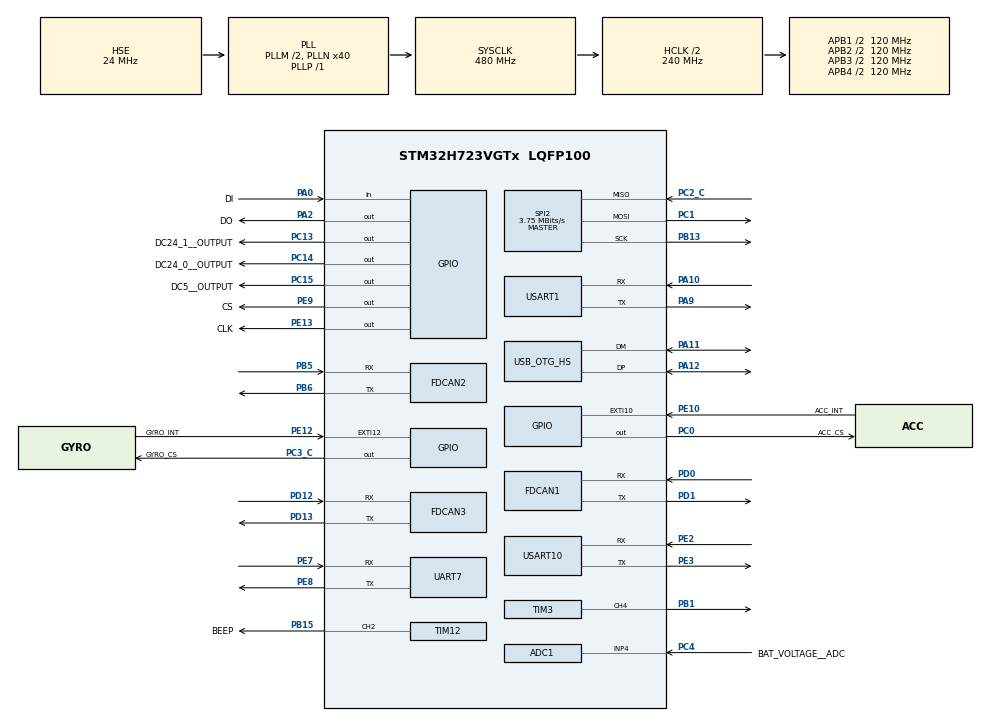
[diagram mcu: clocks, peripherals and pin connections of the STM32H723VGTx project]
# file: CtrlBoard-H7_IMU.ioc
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ADC1.Channel-0\#ChannelRegularConversion=ADC_CHANNEL_4
ADC1.ContinuousConvMode=ENABLE
ADC1.ConversionDataManagement=ADC_CONVERSIONDATA_DMA_CIRCULAR
ADC1.NbrOfConversionFlag=1
ADC1.OffsetNumber-0\#ChannelRegularConversion=ADC_OFFSET_NONE
ADC1.OffsetSignedSaturation-0\#ChannelRegularConversion=DISABLE
ADC1.Rank-0\#ChannelRegularConversion=1
ADC1.SamplingTime-0\#ChannelRegularConversion=ADC_SAMPLETIME_1CYCLE_5
ADC1.master=1
CORTEX_M7.CPU_DCache=Enabled
CORTEX_M7.CPU_ICache=Enabled
CORTEX_M7.default_mode_Activation=1
Dma.ADC1.2.Direction=DMA_PERIPH_TO_MEMORY
Dma.ADC1.2.EventEnable=DISABLE
Dma.ADC1.2.FIFOMode=DMA_FIFOMODE_DISABLE
Dma.ADC1.2.Instance=DMA1_Stream5
Dma.ADC1.2.MemDataAlignment=DMA_MDATAALIGN_HALFWORD
Dma.ADC1.2.MemInc=DMA_MINC_ENABLE
Dma.ADC1.2.Mode=DMA_NORMAL
Dma.ADC1.2.PeriphDataAlignment=DMA_PDATAALIGN_HALFWORD
Dma.ADC1.2.PeriphInc=DMA_PINC_DISABLE
Dma.ADC1.2.Polarity=HAL_DMAMUX_REQ_GEN_RISING
Dma.ADC1.2.Priority=DMA_PRIORITY_LOW
Dma.ADC1.2.RequestNumber=1
Dma.ADC1.2.SignalID=NONE
Dma.ADC1.2.SyncEnable=DISABLE
Dma.ADC1.2.SyncPolarity=HAL_DMAMUX_SYNC_NO_EVENT
Dma.ADC1.2.SyncRequestNumber=1
Dma.ADC1.2.SyncSignalID=NONE
Dma.Request0=SPI2_RX
Dma.Request1=SPI2_TX
Dma.Request2=ADC1
Dma.Request3=USART1_RX
Dma.Request4=USART1_TX
Dma.Request5=USART10_TX
Dma.SPI2_RX.0.Direction=DMA_PERIPH_TO_MEMORY
Dma.SPI2_RX.0.EventEnable=DISABLE
Dma.SPI2_RX.0.FIFOMode=DMA_FIFOMODE_DISABLE
Dma.SPI2_RX.0.Instance=DMA1_Stream2
Dma.SPI2_RX.0.MemDataAlignment=DMA_MDATAALIGN_BYTE
Dma.SPI2_RX.0.MemInc=DMA_MINC_ENABLE
Dma.SPI2_RX.0.Mode=DMA_NORMAL
Dma.SPI2_RX.0.PeriphDataAlignment=DMA_PDATAALIGN_BYTE
Dma.SPI2_RX.0.PeriphInc=DMA_PINC_DISABLE
Dma.SPI2_RX.0.Polarity=HAL_DMAMUX_REQ_GEN_RISING
Dma.SPI2_RX.0.Priority=DMA_PRIORITY_VERY_HIGH
Dma.SPI2_RX.0.RequestNumber=1
Dma.SPI2_RX.0.SignalID=NONE
Dma.SPI2_RX.0.SyncEnable=DISABLE
Dma.SPI2_RX.0.SyncPolarity=HAL_DMAMUX_SYNC_NO_EVENT
Dma.SPI2_RX.0.SyncRequestNumber=1
Dma.SPI2_RX.0.SyncSignalID=NONE
Dma.SPI2_TX.1.Direction=DMA_MEMORY_TO_PERIPH
Dma.SPI2_TX.1.EventEnable=DISABLE
Dma.SPI2_TX.1.FIFOMode=DMA_FIFOMODE_DISABLE
Dma.SPI2_TX.1.Instance=DMA1_Stream1
Dma.SPI2_TX.1.MemDataAlignment=DMA_MDATAALIGN_BYTE
Dma.SPI2_TX.1.MemInc=DMA_MINC_ENABLE
Dma.SPI2_TX.1.Mode=DMA_NORMAL
Dma.SPI2_TX.1.PeriphDataAlignment=DMA_PDATAALIGN_BYTE
Dma.SPI2_TX.1.PeriphInc=DMA_PINC_DISABLE
Dma.SPI2_TX.1.Polarity=HAL_DMAMUX_REQ_GEN_RISING
Dma.SPI2_TX.1.Priority=DMA_PRIORITY_HIGH
Dma.SPI2_TX.1.RequestNumber=1
Dma.SPI2_TX.1.SignalID=NONE
Dma.SPI2_TX.1.SyncEnable=DISABLE
Dma.SPI2_TX.1.SyncPolarity=HAL_DMAMUX_SYNC_NO_EVENT
Dma.SPI2_TX.1.SyncRequestNumber=1
Dma.SPI2_TX.1.SyncSignalID=NONE
Dma.USART10_TX.5.Direction=DMA_MEMORY_TO_PERIPH
Dma.USART10_TX.5.EventEnable=DISABLE
Dma.USART10_TX.5.FIFOMode=DMA_FIFOMODE_DISABLE
Dma.USART10_TX.5.Instance=DMA1_Stream3
Dma.USART10_TX.5.MemDataAlignment=DMA_MDATAALIGN_BYTE
Dma.USART10_TX.5.MemInc=DMA_MINC_ENABLE
Dma.USART10_TX.5.Mode=DMA_NORMAL
Dma.USART10_TX.5.PeriphDataAlignment=DMA_PDATAALIGN_BYTE
Dma.USART10_TX.5.PeriphInc=DMA_PINC_DISABLE
Dma.USART10_TX.5.Polarity=HAL_DMAMUX_REQ_GEN_RISING
Dma.USART10_TX.5.Priority=DMA_PRIORITY_LOW
Dma.USART10_TX.5.RequestNumber=1
Dma.USART10_TX.5.SignalID=NONE
Dma.USART10_TX.5.SyncEnable=DISABLE
Dma.USART10_TX.5.SyncPolarity=HAL_DMAMUX_SYNC_NO_EVENT
Dma.USART10_TX.5.SyncRequestNumber=1
Dma.USART10_TX.5.SyncSignalID=NONE
Dma.USART1_RX.3.Direction=DMA_PERIPH_TO_MEMORY
Dma.USART1_RX.3.EventEnable=DISABLE
Dma.USART1_RX.3.FIFOMode=DMA_FIFOMODE_DISABLE
Dma.USART1_RX.3.Instance=DMA2_Stream1
Dma.USART1_RX.3.MemDataAlignment=DMA_MDATAALIGN_BYTE
Dma.USART1_RX.3.MemInc=DMA_MINC_ENABLE
Dma.USART1_RX.3.Mode=DMA_NORMAL
Dma.USART1_RX.3.PeriphDataAlignment=DMA_PDATAALIGN_BYTE
Dma.USART1_RX.3.PeriphInc=DMA_PINC_DISABLE
Dma.USART1_RX.3.Polarity=HAL_DMAMUX_REQ_GEN_RISING
Dma.USART1_RX.3.Priority=DMA_PRIORITY_LOW
Dma.USART1_RX.3.RequestNumber=1
Dma.USART1_RX.3.SignalID=NONE
Dma.USART1_RX.3.SyncEnable=DISABLE
Dma.USART1_RX.3.SyncPolarity=HAL_DMAMUX_SYNC_NO_EVENT
Dma.USART1_RX.3.SyncRequestNumber=1
Dma.USART1_RX.3.SyncSignalID=NONE
Dma.USART1_TX.4.Direction=DMA_MEMORY_TO_PERIPH
Dma.USART1_TX.4.EventEnable=DISABLE
Dma.USART1_TX.4.FIFOMode=DMA_FIFOMODE_DISABLE
Dma.USART1_TX.4.Instance=DMA1_Stream0
Dma.USART1_TX.4.MemDataAlignment=DMA_MDATAALIGN_BYTE
Dma.USART1_TX.4.MemInc=DMA_MINC_ENABLE
Dma.USART1_TX.4.Mode=DMA_NORMAL
Dma.USART1_TX.4.PeriphDataAlignment=DMA_PDATAALIGN_BYTE
Dma.USART1_TX.4.PeriphInc=DMA_PINC_DISABLE
Dma.USART1_TX.4.Polarity=HAL_DMAMUX_REQ_GEN_RISING
Dma.USART1_TX.4.Priority=DMA_PRIORITY_LOW
Dma.USART1_TX.4.RequestNumber=1
Dma.USART1_TX.4.SignalID=NONE
Dma.USART1_TX.4.SyncEnable=DISABLE
Dma.USART1_TX.4.SyncPolarity=HAL_DMAMUX_SYNC_NO_EVENT
Dma.USART1_TX.4.SyncRequestNumber=1
Dma.USART1_TX.4.SyncSignalID=NONE
FDCAN1.AutoRetransmission=ENABLE
FDCAN1.CalculateBaudRateNominal=1000000
FDCAN1.CalculateTimeBitNominal=1000
FDCAN1.CalculateTimeQuantumNominal=41.666666666666664
FDCAN1.DataPrescaler=5
FDCAN1.DataTimeSeg1=14
FDCAN1.DataTimeSeg2=5
FDCAN1.ExtFiltersNbr=5
FDCAN1.MessageRAMOffset=0
FDCAN1.NominalPrescaler=4
FDCAN1.NominalTimeSeg1=18
FDCAN1.NominalTimeSeg2=5
FDCAN1.ProtocolException=ENABLE
FDCAN1.RxFifo0ElmtSize=FDCAN_DATA_BYTES_8
FDCAN1.RxFifo0ElmtsNbr=4
FDCAN1.RxFifo1ElmtSize=FDCAN_DATA_BYTES_24
FDCAN1.RxFifo1ElmtsNbr=4
FDCAN1.StdFiltersNbr=5
FDCAN1.TxElmtSize=FDCAN_DATA_BYTES_16
FDCAN1.TxFifoQueueElmtsNbr=4
FDCAN2.AutoRetransmission=ENABLE
FDCAN2.CalculateBaudRateNominal=1000000
FDCAN2.CalculateTimeBitNominal=1000
FDCAN2.CalculateTimeQuantumNominal=41.666666666666664
FDCAN2.DataPrescaler=5
FDCAN2.DataTimeSeg1=14
FDCAN2.DataTimeSeg2=5
FDCAN2.ExtFiltersNbr=5
FDCAN2.MessageRAMOffset=854
FDCAN2.NominalPrescaler=4
FDCAN2.NominalTimeSeg1=18
FDCAN2.NominalTimeSeg2=5
FDCAN2.ProtocolException=ENABLE
FDCAN2.RxFifo1ElmtSize=FDCAN_DATA_BYTES_24
FDCAN2.RxFifo1ElmtsNbr=4
FDCAN2.StdFiltersNbr=5
FDCAN2.TxElmtSize=FDCAN_DATA_BYTES_16
FDCAN2.TxFifoQueueElmtsNbr=4
FDCAN3.CalculateBaudRateNominal=1000000
FDCAN3.CalculateTimeBitNominal=1000
FDCAN3.CalculateTimeQuantumNominal=41.666666666666664
FDCAN3.DataPrescaler=5
FDCAN3.DataTimeSeg1=14
FDCAN3.DataTimeSeg2=5
FDCAN3.ExtFiltersNbr=5
FDCAN3.MessageRAMOffset=1709
FDCAN3.NominalPrescaler=4
FDCAN3.NominalTimeSeg1=18
FDCAN3.NominalTimeSeg2=5
FDCAN3.RxFifo0ElmtsNbr=2
FDCAN3.StdFiltersNbr=5
FDCAN3.TxFifoQueueElmtsNbr=3
FREERTOS.MEMORY_ALLOCATION=0
FREERTOS.Tasks01=defaultTask,0,128,StartDefaultTask,Default,NULL,Dynamic,NULL,NULL;INS_TASK,3,1024,INS_Task,Default,NULL,Dynamic,NULL,NULL;CHASSISR_TASK,1,1024,ChassisR_Task,Default,NULL,Dynamic,NULL,NULL;CHASSISL_TASK,1,1024,ChassisL_Task,Default,NULL,Dynamic,NULL,NULL;OBSERVE_TASK,2,1024,OBSERVE_Task,Default,NULL,Dynamic,NULL,NULL;PS2_TASK,1,128,PS2_Task,Default,NULL,Dynamic,NULL,NULL;XboxTASK,1,512,XboxTask,Default,NULL,Dynamic,NULL,NULL;POWERTASK,0,128,POWERTask,Default,NULL,Dynamic,NULL,NULL;VOFA_TASK,1,512,VOFATask,Default,NULL,Dynamic,NULL,NULL;ROS_TASK,1,1024,ROS_Task,As weak,NULL,Dynamic,NULL,NULL
FREERTOS.configENABLE_FPU=1
FREERTOS.configTOTAL_HEAP_SIZE=30720
Mcu.Family=STM32H7
Mcu.Name=STM32H723VGTx
Mcu.Package=LQFP100
NVIC.DMA1_Stream0_IRQn=true\:6\:0\:true\:false\:true\:true\:false\:true\:true
NVIC.DMA1_Stream1_IRQn=true\:6\:0\:true\:false\:true\:true\:false\:true\:true
NVIC.DMA1_Stream2_IRQn=true\:5\:0\:false\:false\:true\:true\:false\:true\:true
NVIC.DMA1_Stream3_IRQn=true\:5\:0\:false\:false\:true\:true\:false\:true\:true
NVIC.DMA1_Stream5_IRQn=true\:5\:0\:false\:false\:true\:false\:false\:true\:true
NVIC.DMA2_Stream1_IRQn=true\:5\:0\:false\:false\:true\:false\:false\:true\:true
NVIC.FDCAN1_IT0_IRQn=true\:6\:0\:true\:false\:true\:true\:true\:true\:true
NVIC.FDCAN2_IT0_IRQn=true\:5\:0\:true\:false\:true\:true\:true\:true\:true
NVIC.FDCAN3_IT0_IRQn=true\:5\:0\:false\:false\:true\:true\:true\:true\:true
NVIC.OTG_HS_IRQn=true\:5\:0\:false\:false\:true\:true\:false\:true\:true
NVIC.PriorityGroup=NVIC_PRIORITYGROUP_4
NVIC.SPI2_IRQn=true\:5\:0\:true\:false\:true\:true\:false\:true\:true
NVIC.TIM2_IRQn=true\:1\:0\:true\:false\:true\:false\:false\:true\:true
NVIC.TimeBase=TIM2_IRQn
NVIC.TimeBaseIP=TIM2
NVIC.UART7_IRQn=true\:5\:0\:true\:false\:true\:true\:true\:true\:true
NVIC.USART10_IRQn=true\:5\:0\:false\:false\:true\:true\:true\:true\:true
NVIC.USART1_IRQn=true\:5\:0\:false\:false\:true\:true\:true\:true\:true
PA0.GPIO_Label=DI
PA0.GPIO_PuPd=GPIO_PULLUP
PA0.Signal=GPIO_Input
PA10.Mode=Asynchronous
PA10.Signal=USART1_RX
PA11.Mode=Device_Only_FS
PA11.Signal=USB_OTG_HS_DM
PA12.Mode=Device_Only_FS
PA12.Signal=USB_OTG_HS_DP
PA13(JTMS/SWDIO).Mode=Serial_Wire
PA13(JTMS/SWDIO).Signal=DEBUG_JTMS-SWDIO
PA14(JTCK/SWCLK).Mode=Serial_Wire
PA14(JTCK/SWCLK).Signal=DEBUG_JTCK-SWCLK
PA2.GPIO_Label=DO
PA2.GPIO_PuPd=GPIO_PULLUP
PA2.GPIO_Speed=GPIO_SPEED_FREQ_VERY_HIGH
PA2.PinState=GPIO_PIN_SET
PA2.Signal=GPIO_Output
PA9.Mode=Asynchronous
PA9.Signal=USART1_TX
PB1.Signal=S_TIM3_CH4
PB13.GPIO_Speed=GPIO_SPEED_FREQ_VERY_HIGH
PB13.Mode=Full_Duplex_Master
PB13.Signal=SPI2_SCK
PB15.GPIO_Label=BEEP
PB15.Signal=S_TIM12_CH2
PB5.Mode=FDCAN_Activate
PB5.Signal=FDCAN2_RX
PB6.Mode=FDCAN_Activate
PB6.Signal=FDCAN2_TX
PC0.GPIO_Label=ACC_CS
PC0.GPIO_Speed=GPIO_SPEED_FREQ_VERY_HIGH
PC0.PinState=GPIO_PIN_SET
PC0.Signal=GPIO_Output
PC1.GPIO_Speed=GPIO_SPEED_FREQ_VERY_HIGH
PC1.Mode=Full_Duplex_Master
PC1.Signal=SPI2_MOSI
PC13.GPIO_Label=DC24_1__OUTPUT
PC13.PinState=GPIO_PIN_SET
PC13.Signal=GPIO_Output
PC14-OSC32_IN.GPIO_Label=DC24_0__OUTPUT
PC14-OSC32_IN.PinState=GPIO_PIN_SET
PC14-OSC32_IN.Signal=GPIO_Output
PC15-OSC32_OUT.GPIO_Label=DC5__OUTPUT
PC15-OSC32_OUT.PinState=GPIO_PIN_SET
PC15-OSC32_OUT.Signal=GPIO_Output
PC2_C.GPIO_Speed=GPIO_SPEED_FREQ_VERY_HIGH
PC2_C.Mode=Full_Duplex_Master
PC2_C.Signal=SPI2_MISO
PC3_C.GPIO_Label=GYRO_CS
PC3_C.GPIO_Speed=GPIO_SPEED_FREQ_VERY_HIGH
PC3_C.PinState=GPIO_PIN_SET
PC3_C.Signal=GPIO_Output
PC4.GPIO_Label=BAT_VOLTAGE__ADC
PC4.Signal=ADCx_INP4
PD0.Mode=FDCAN_Activate
PD0.Signal=FDCAN1_RX
PD1.Mode=FDCAN_Activate
PD1.Signal=FDCAN1_TX
PD12.Mode=FDCAN_Activate
PD12.Signal=FDCAN3_RX
PD13.Mode=FDCAN_Activate
PD13.Signal=FDCAN3_TX
PE10.GPIO_Label=ACC_INT
PE10.Signal=GPXTI10
PE12.GPIO_Label=GYRO_INT
PE12.Signal=GPXTI12
PE13.GPIO_Label=CLK
PE13.GPIO_PuPd=GPIO_PULLUP
PE13.GPIO_Speed=GPIO_SPEED_FREQ_VERY_HIGH
PE13.PinState=GPIO_PIN_SET
PE13.Signal=GPIO_Output
PE2.Mode=Asynchronous
PE2.Signal=USART10_RX
PE3.Mode=Asynchronous
PE3.Signal=USART10_TX
PE7.Mode=Asynchronous
PE7.Signal=UART7_RX
PE8.Mode=Asynchronous
PE8.Signal=UART7_TX
PE9.GPIO_Label=CS
PE9.GPIO_PuPd=GPIO_PULLUP
PE9.GPIO_Speed=GPIO_SPEED_FREQ_VERY_HIGH
PE9.PinState=GPIO_PIN_SET
PE9.Signal=GPIO_Output
PH0-OSC_IN.Mode=HSE-External-Oscillator
PH0-OSC_IN.Signal=RCC_OSC_IN
PH1-OSC_OUT.Mode=HSE-External-Oscillator
PH1-OSC_OUT.Signal=RCC_OSC_OUT
ProjectManager.HeapSize=0x200
ProjectManager.StackSize=0x800
ProjectManager.TargetToolchain=MDK-ARM V5.27
RCC.ADCFreq_Value=96000000
RCC.APB1Freq_Value=120000000
RCC.APB2Freq_Value=120000000
RCC.APB3Freq_Value=120000000
RCC.APB4Freq_Value=120000000
RCC.CortexFreq_Value=480000000
RCC.D1PPRE=RCC_APB3_DIV2
RCC.D2PPRE1=RCC_APB1_DIV2
RCC.D2PPRE2=RCC_APB2_DIV2
RCC.D3PPRE=RCC_APB4_DIV2
RCC.DIVM1=2
RCC.DIVM2=2
RCC.DIVN1=40
RCC.DIVN2=16
RCC.DIVP1=1
RCC.DIVQ1=4
RCC.FDCANCLockSelection=RCC_FDCANCLKSOURCE_PLL2
RCC.HCLKFreq_Value=240000000
RCC.HPRE=RCC_HCLK_DIV2
RCC.HSE_VALUE=24000000
RCC.PLL2FRACN=0
RCC.PLL3FRACN=0
RCC.PLLFRACN=0
RCC.PLLSourceVirtual=RCC_PLLSOURCE_HSE
RCC.SYSCLKFreq_VALUE=480000000
RCC.SYSCLKSource=RCC_SYSCLKSOURCE_PLLCLK
RCC.USBCLockSelection=RCC_USBCLKSOURCE_HSI48
RCC.USBFreq_Value=48000000
SH.ADCx_INP4.0=ADC1_INP4,IN4-Single-Ended
SH.S_TIM12_CH2.0=TIM12_CH2,PWM Generation2 CH2
SH.S_TIM3_CH4.0=TIM3_CH4,PWM Generation4 CH4
SPI2.BaudRatePrescaler=SPI_BAUDRATEPRESCALER_32
SPI2.CLKPhase=SPI_PHASE_2EDGE
SPI2.CLKPolarity=SPI_POLARITY_HIGH
SPI2.CalculateBaudRate=3.75 MBits/s
SPI2.DataSize=SPI_DATASIZE_8BIT
SPI2.Direction=SPI_DIRECTION_2LINES
SPI2.Mode=SPI_MODE_MASTER
SPI2.VirtualType=VM_MASTER
TIM12.Channel-PWM\ Generation2\ CH2=TIM_CHANNEL_2
TIM12.Period=59999
TIM3.AutoReloadPreload=TIM_AUTORELOAD_PRELOAD_ENABLE
TIM3.Channel-PWM\ Generation4\ CH4=TIM_CHANNEL_4
TIM3.Period=10000-1
TIM3.Prescaler=24-1
UART7.AutoBaudRateEnableParam=UART_ADVFEATURE_AUTOBAUDRATE_ENABLE
UART7.WordLength=WORDLENGTH_8B
USART1.VirtualMode-Asynchronous=VM_ASYNC
USART10.VirtualMode=VM_ASYNC
USB_DEVICE.CLASS_NAME_HS=CDC
USB_DEVICE.VirtualMode=Cdc
USB_DEVICE.VirtualModeHS=Cdc_HS
USB_OTG_HS.VirtualMode-Device_Only_FS=Device_Only_FS
VP_FREERTOS_VS_CMSIS_V1.Mode=CMSIS_V1
VP_MEMORYMAP_VS_MEMORYMAP.Mode=CurAppReg
VP_SYS_VS_tim2.Mode=TIM2
VP_USB_DEVICE_VS_USB_DEVICE_CDC_HS.Mode=CDC_HS
board=custom

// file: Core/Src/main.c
/* USER CODE BEGIN Header */
/**
  ******************************************************************************
  * @file           : main.c
  * @brief          : Main program body
  ******************************************************************************
  * @attention
  *
  * Copyright (c) 2024 STMicroelectronics.
  * All rights reserved.
  *
  * This software is licensed under terms that can be found in the LICENSE file
  * in the root directory of this software component.
  * If no LICENSE file comes with this software, it is provided AS-IS.
  *
  ******************************************************************************
  */
/* USER CODE END Header */
#include "main.h"
#include "cmsis_os.h"
#include "adc.h"
#include "dma.h"
#include "fdcan.h"
#include "spi.h"
#include "tim.h"
#include "usart.h"
#include "usb_device.h"
#include "gpio.h"

/* USER CODE BEGIN Includes */
#include "BMI088driver.h"
#include "kalman_filter.h"
#include "mahony_filter.h"
#include "bsp_dwt.h"
#include "BMI088Middleware.h"
#include "can_bsp.h"
#include "vofa_task.h"
/* USER CODE END Includes */

void SystemClock_Config(void);
void PeriphCommonClock_Config(void);
static void MPU_Config(void);
void MX_FREERTOS_Init(void);
/* USER CODE BEGIN PFP */
extern volatile uint8_t rx_data_byte;
/* USER CODE END PFP */

int main(void)
{

  /* MPU Configuration--------------------------------------------------------*/
  MPU_Config();

  /* Enable the CPU Cache */

  /* Enable I-Cache---------------------------------------------------------*/
  SCB_EnableICache();

  /* Enable D-Cache---------------------------------------------------------*/
  SCB_EnableDCache();

  /* MCU Configuration--------------------------------------------------------*/

  /* Reset of all peripherals, Initializes the Flash interface and the Systick. */
  HAL_Init();

  /* USER CODE BEGIN Init */
//06 01 00 00 00 00 00 00 00 00 00 00 00 00 80 3F
  /* USER CODE END Init */

  /* Configure the system clock */
  SystemClock_Config();

  /* Configure the peripherals common clocks */
  PeriphCommonClock_Config();

  /* Initialize all configured peripherals */
  MX_GPIO_Init();
  MX_DMA_Init();
  MX_SPI2_Init();
  MX_FDCAN1_Init();
  MX_FDCAN2_Init();
  MX_TIM3_Init();
  MX_FDCAN3_Init();
  MX_UART7_Init();
  MX_ADC1_Init();
  MX_TIM12_Init();
  MX_USART1_UART_Init();
  MX_USART10_UART_Init();
  /* USER CODE BEGIN 2 */
  MX_USB_DEVICE_Init();

  HAL_UART_Receive_IT(&huart7, &rx_data_byte, 1);

	DWT_Init(480);

    /* BMI088初始化 */
  while (BMI088_init(&hspi2, 0) != BMI088_NO_ERROR)
	{
	  ;
	}
	Power_OUT1_OFF;//imu初始化完成，可控电源打开，led灯亮
	Power_OUT2_OFF;

  FDCAN1_Config();//can过滤器初始化
	FDCAN2_Config();

  /* USER CODE END 2 */

  /* Call init function for freertos objects (in cmsis_os2.c) */
  MX_FREERTOS_Init();

  /* Start scheduler */
  osKernelStart();

  /* We should never get here as control is now taken by the scheduler */

  /* Infinite loop */
  while (1)
  {

  }
}

void SystemClock_Config(void)
{
  RCC_OscInitTypeDef RCC_OscInitStruct = {0};
  RCC_ClkInitTypeDef RCC_ClkInitStruct = {0};

  /** Supply configuration update enable
  */
  HAL_PWREx_ConfigSupply(PWR_LDO_SUPPLY);

  /** Configure the main internal regulator output voltage
  */
  __HAL_PWR_VOLTAGESCALING_CONFIG(PWR_REGULATOR_VOLTAGE_SCALE0);

  while(!__HAL_PWR_GET_FLAG(PWR_FLAG_VOSRDY)) {}

  /** Initializes the RCC Oscillators according to the specified parameters
  * in the RCC_OscInitTypeDef structure.
  */
  RCC_OscInitStruct.OscillatorType = RCC_OSCILLATORTYPE_HSI48|RCC_OSCILLATORTYPE_HSE;
  RCC_OscInitStruct.HSEState = RCC_HSE_ON;
  RCC_OscInitStruct.HSI48State = RCC_HSI48_ON;
  RCC_OscInitStruct.PLL.PLLState = RCC_PLL_ON;
  RCC_OscInitStruct.PLL.PLLSource = RCC_PLLSOURCE_HSE;
  RCC_OscInitStruct.PLL.PLLM = 2;
  RCC_OscInitStruct.PLL.PLLN = 40;
  RCC_OscInitStruct.PLL.PLLP = 1;
  RCC_OscInitStruct.PLL.PLLQ = 4;
  RCC_OscInitStruct.PLL.PLLR = 2;
  RCC_OscInitStruct.PLL.PLLRGE = RCC_PLL1VCIRANGE_3;
  RCC_OscInitStruct.PLL.PLLVCOSEL = RCC_PLL1VCOWIDE;
  RCC_OscInitStruct.PLL.PLLFRACN = 0;
  if (HAL_RCC_OscConfig(&RCC_OscInitStruct) != HAL_OK)
  {
    Error_Handler();
  }

  /** Initializes the CPU, AHB and APB buses clocks
  */
  RCC_ClkInitStruct.ClockType = RCC_CLOCKTYPE_HCLK|RCC_CLOCKTYPE_SYSCLK
                              |RCC_CLOCKTYPE_PCLK1|RCC_CLOCKTYPE_PCLK2
                              |RCC_CLOCKTYPE_D3PCLK1|RCC_CLOCKTYPE_D1PCLK1;
  RCC_ClkInitStruct.SYSCLKSource = RCC_SYSCLKSOURCE_PLLCLK;
  RCC_ClkInitStruct.SYSCLKDivider = RCC_SYSCLK_DIV1;
  RCC_ClkInitStruct.AHBCLKDivider = RCC_HCLK_DIV2;
  RCC_ClkInitStruct.APB3CLKDivider = RCC_APB3_DIV2;
  RCC_ClkInitStruct.APB1CLKDivider = RCC_APB1_DIV2;
  RCC_ClkInitStruct.APB2CLKDivider = RCC_APB2_DIV2;
  RCC_ClkInitStruct.APB4CLKDivider = RCC_APB4_DIV2;

  if (HAL_RCC_ClockConfig(&RCC_ClkInitStruct, FLASH_LATENCY_3) != HAL_OK)
  {
    Error_Handler();
  }
}

void PeriphCommonClock_Config(void)
{
  RCC_PeriphCLKInitTypeDef PeriphClkInitStruct = {0};

  /** Initializes the peripherals clock
  */
  PeriphClkInitStruct.PeriphClockSelection = RCC_PERIPHCLK_ADC|RCC_PERIPHCLK_FDCAN;
  PeriphClkInitStruct.PLL2.PLL2M = 2;
  PeriphClkInitStruct.PLL2.PLL2N = 16;
  PeriphClkInitStruct.PLL2.PLL2P = 2;
  PeriphClkInitStruct.PLL2.PLL2Q = 2;
  PeriphClkInitStruct.PLL2.PLL2R = 2;
  PeriphClkInitStruct.PLL2.PLL2RGE = RCC_PLL2VCIRANGE_3;
  PeriphClkInitStruct.PLL2.PLL2VCOSEL = RCC_PLL2VCOWIDE;
  PeriphClkInitStruct.PLL2.PLL2FRACN = 0;
  PeriphClkInitStruct.FdcanClockSelection = RCC_FDCANCLKSOURCE_PLL2;
  PeriphClkInitStruct.AdcClockSelection = RCC_ADCCLKSOURCE_PLL2;
  if (HAL_RCCEx_PeriphCLKConfig(&PeriphClkInitStruct) != HAL_OK)
  {
    Error_Handler();
  }
}

/* USER CODE BEGIN 4 */

// void HAL_UART_RxCpltCallback(UART_HandleTypeDef *huart){
//     UART_PrintString(&huart10, "UART Rx Complete\r\n");
//     HAL_UART_Receive_IT(&huart7, &rx_data_buff, sizeof(rx_data_buff));
// }
/* USER CODE END 4 */

 /* MPU Configuration */

void MPU_Config(void)
{
  MPU_Region_InitTypeDef MPU_InitStruct = {0};

  /* Disables the MPU */
  HAL_MPU_Disable();

  /** Initializes and configures the Region and the memory to be protected
  */
  MPU_InitStruct.Enable = MPU_REGION_ENABLE;
  MPU_InitStruct.Number = MPU_REGION_NUMBER0;
  MPU_InitStruct.BaseAddress = 0x0;
  MPU_InitStruct.Size = MPU_REGION_SIZE_4GB;
  MPU_InitStruct.SubRegionDisable = 0x87;
  MPU_InitStruct.TypeExtField = MPU_TEX_LEVEL0;
  MPU_InitStruct.AccessPermission = MPU_REGION_NO_ACCESS;
  MPU_InitStruct.DisableExec = MPU_INSTRUCTION_ACCESS_DISABLE;
  MPU_InitStruct.IsShareable = MPU_ACCESS_SHAREABLE;
  MPU_InitStruct.IsCacheable = MPU_ACCESS_NOT_CACHEABLE;
  MPU_InitStruct.IsBufferable = MPU_ACCESS_NOT_BUFFERABLE;

  HAL_MPU_ConfigRegion(&MPU_InitStruct);
  /* Enables the MPU */
  HAL_MPU_Enable(MPU_PRIVILEGED_DEFAULT);

}

void HAL_TIM_PeriodElapsedCallback(TIM_HandleTypeDef *htim)
{
  if (htim->Instance == TIM2)
  {
    HAL_IncTick();
  }
}

void Error_Handler(void)
{
  __disable_irq();
  while (1)
  {
  }
}

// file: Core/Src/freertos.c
/* USER CODE BEGIN Header */
/**
  ******************************************************************************
  * File Name          : freertos.c
  * Description        : Code for freertos applications
  ******************************************************************************
  * @attention
  *
  * Copyright (c) 2024 STMicroelectronics.
  * All rights reserved.
  *
  * This software is licensed under terms that can be found in the LICENSE file
  * in the root directory of this software component.
  * If no LICENSE file comes with this software, it is provided AS-IS.
  *
  ******************************************************************************
  */
/* USER CODE END Header */

#include "FreeRTOS.h"
#include "task.h"
#include "main.h"
#include "cmsis_os.h"

/* USER CODE BEGIN Includes */
#include "INS_task.h"
#include "chassisR_task.h"
#include "chassisL_task.h"
#include "observe_task.h"
#include "ps2_task.h"
#include "xbox_task.h"
#include "power_task.h"
#include "vofa_task.h"
#include "ros2_task.h"
/* USER CODE END Includes */

osThreadId defaultTaskHandle;
osThreadId INS_TASKHandle;
osThreadId CHASSISR_TASKHandle;
osThreadId CHASSISL_TASKHandle;
osThreadId OBSERVE_TASKHandle;
osThreadId PS2_TASKHandle;
osThreadId XboxTASKHandle;
osThreadId POWERTASKHandle;
osThreadId VOFA_TASKHandle;
osThreadId ROS_TASKHandle;

void StartDefaultTask(void const * argument);
void INS_Task(void const * argument);
void ChassisR_Task(void const * argument);
void ChassisL_Task(void const * argument);
void OBSERVE_Task(void const * argument);
void PS2_Task(void const * argument);
void XboxTask(void const * argument);
void POWERTask(void const * argument);
void VOFATask(void const * argument);
void ROS_Task(void const * argument);

extern void MX_USB_DEVICE_Init(void);
void MX_FREERTOS_Init(void); /* (MISRA C 2004 rule 8.1) */

void MX_FREERTOS_Init(void) {

  /* Create the thread(s) */
  /* definition and creation of defaultTask */
  osThreadDef(defaultTask, StartDefaultTask, osPriorityNormal, 0, 128);
  defaultTaskHandle = osThreadCreate(osThread(defaultTask), NULL);

  /* definition and creation of INS_TASK */
  osThreadDef(INS_TASK, INS_Task, osPriorityRealtime, 0, 1024);
  INS_TASKHandle = osThreadCreate(osThread(INS_TASK), NULL);

  /* definition and creation of CHASSISR_TASK */
  osThreadDef(CHASSISR_TASK, ChassisR_Task, osPriorityAboveNormal, 0, 1024);
  CHASSISR_TASKHandle = osThreadCreate(osThread(CHASSISR_TASK), NULL);

  /* definition and creation of CHASSISL_TASK */
  osThreadDef(CHASSISL_TASK, ChassisL_Task, osPriorityAboveNormal, 0, 1024);
  CHASSISL_TASKHandle = osThreadCreate(osThread(CHASSISL_TASK), NULL);

  /* definition and creation of OBSERVE_TASK */
  osThreadDef(OBSERVE_TASK, OBSERVE_Task, osPriorityHigh, 0, 1024);
  OBSERVE_TASKHandle = osThreadCreate(osThread(OBSERVE_TASK), NULL);

  /* definition and creation of PS2_TASK */
  osThreadDef(PS2_TASK, PS2_Task, osPriorityAboveNormal, 0, 128);
  PS2_TASKHandle = osThreadCreate(osThread(PS2_TASK), NULL);

  /* definition and creation of XboxTASK */
  osThreadDef(XboxTASK, XboxTask, osPriorityAboveNormal, 0, 512);
  XboxTASKHandle = osThreadCreate(osThread(XboxTASK), NULL);

  /* definition and creation of POWERTASK */
  osThreadDef(POWERTASK, POWERTask, osPriorityNormal, 0, 128);
  POWERTASKHandle = osThreadCreate(osThread(POWERTASK), NULL);

  /* definition and creation of VOFA_TASK */
  osThreadDef(VOFA_TASK, VOFATask, osPriorityAboveNormal, 0, 512);
  VOFA_TASKHandle = osThreadCreate(osThread(VOFA_TASK), NULL);

  /* definition and creation of ROS_TASK */
  osThreadDef(ROS_TASK, ROS_Task, osPriorityAboveNormal, 0, 1024);
  ROS_TASKHandle = osThreadCreate(osThread(ROS_TASK), NULL);

}

void StartDefaultTask(void const * argument)
{
  /* init code for USB_DEVICE */
  MX_USB_DEVICE_Init();
  for(;;)
  {
    osDelay(1);
  }
}

void INS_Task(void const * argument)
{
  /* USER CODE BEGIN INS_Task */

  /* Infinite loop */
  osDelay(100);
  for(;;)
  {
    INS_task();
  }
  /* USER CODE END INS_Task */
}

void ChassisR_Task(void const * argument)
{
  /* USER CODE BEGIN ChassisR_Task */
  /* Infinite loop */
  osDelay(500);
  for(;;)
  {
    ChassisR_task();
  }
  /* USER CODE END ChassisR_Task */
}

void ChassisL_Task(void const * argument)
{
  /* USER CODE BEGIN ChassisL_Task */
  /* Infinite loop */
  osDelay(500);
  for(;;)
  {
    ChassisL_task();
  }
  /* USER CODE END ChassisL_Task */
}

void OBSERVE_Task(void const * argument)
{
  /* USER CODE BEGIN OBSERVE_Task */
  /* Infinite loop */
  osDelay(500);
  for(;;)
  {
    Observe_task();
  }
  /* USER CODE END OBSERVE_Task */
}

void PS2_Task(void const * argument)
{
  /* USER CODE BEGIN PS2_Task */
  /* Infinite loop */
  for(;;)
  {
    //pstwo_task();
  }
  /* USER CODE END PS2_Task */
}

void XboxTask(void const * argument)
{
  /* USER CODE BEGIN XboxTask */
  /* Infinite loop */
  osDelay(1000);
  for(;;)
  {
    Xbox_task();
  }
  /* USER CODE END XboxTask */
}

void POWERTask(void const * argument)
{
  /* USER CODE BEGIN POWERTask */
  /* Infinite loop */
  osDelay(250);
  for(;;)
  {
    StartPowerTask();
  }
  /* USER CODE END POWERTask */
}

void VOFATask(void const * argument)
{
  /* USER CODE BEGIN VOFATask */
  /* Infinite loop */
  for(;;)
  {
    StartVofaTask();
  }
  /* USER CODE END VOFATask */
}

__weak void ROS_Task(void const * argument)
{
  for(;;)
  {
    osDelay(1);
  }
}
